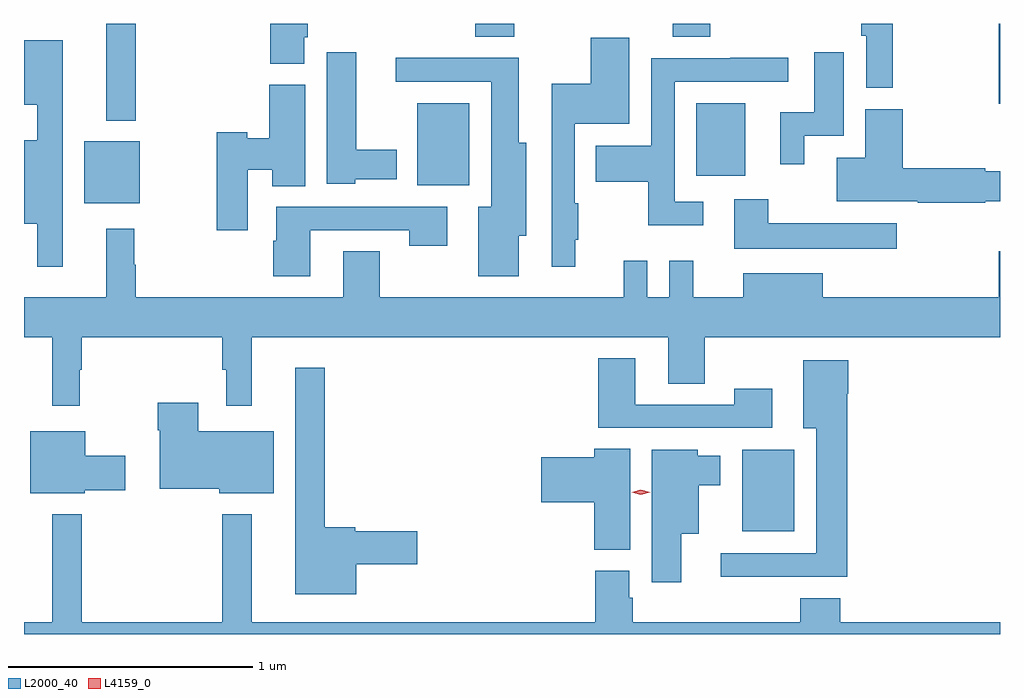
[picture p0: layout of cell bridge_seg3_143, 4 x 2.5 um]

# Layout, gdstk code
import gdstk
lib = gdstk.Library(unit=1e-6, precision=1e-09)
def R(c, l, rs):  # rectangles x0, y0, x1, y1
    for r in rs: c.add(gdstk.rectangle(r[:2], r[2:], *l))
def P(c, l, *ps):  # polygons
    for p in ps: c.add(gdstk.Polygon(p, *l))
L2000_40 = (2000, 40)
L4159_0 = (4159, 0)

bridge_seg3_143 = lib.new_cell('bridge_seg3_143')
R(bridge_seg3_143, L2000_40, [(319.802,666.821,320.014,667.156), (317.105,668.165,317.332,668.419), (318.47,668.24,318.682,668.575), (319.613,668.279,319.813,668.575), (317.195,668.504,317.317,668.901), (320.852,668.574,320.858,668.901), (318.707,668.849,318.867,668.901), (319.517,668.849,319.67,668.901)])
P(bridge_seg3_143, L2000_40, [(320.419,668.901),(320.29,668.901),(320.29,668.852),(320.31,668.852),(320.31,668.64),(320.419,668.64)],
  [(318.007,668.847),(318.02,668.847),(318.02,668.901),(317.867,668.901),(317.867,668.737),(318.007,668.737)],
  [(319.118,668.017),(319.129,668.017),(319.129,668.165),(319.116,668.165),(319.116,668.492),(319.339,668.492),(319.339,668.845),(319.181,668.845),(319.181,668.655),(319.02,668.655),(319.02,667.905),(319.118,667.905)],
  [(317.017,668.833),(316.858,668.833),(316.858,668.57),(316.913,668.57),(316.913,668.425),(316.858,668.425),(316.858,668.081),(316.913,668.081),(316.913,667.905),(317.017,667.905)],
  [(320.056,668.442),(320.218,668.442),(320.218,668.785),(320.096,668.785),(320.096,668.538),(319.958,668.538),(319.958,668.325),(320.056,668.325)],
  [(318.216,668.264),(318.385,668.264),(318.385,668.386),(318.22,668.386),(318.22,668.785),(318.098,668.785),(318.098,668.246),(318.216,668.246)],
  [(318.886,668.033),(318.916,668.033),(318.916,668.413),(318.886,668.413),(318.886,668.762),(318.381,668.762),(318.381,668.664),(318.773,668.664),(318.773,668.152),(318.719,668.152),(318.719,667.866),(318.886,667.866)],
  [(319.642,668.172),(319.524,668.172),(319.524,668.664),(319.99,668.664),(319.99,668.762),(319.753,668.762),(319.753,668.76),(319.428,668.76),(319.428,668.401),(319.201,668.401),(319.201,668.254),(319.416,668.254),(319.416,668.075),(319.642,668.075)],
  [(317.776,668.303),(317.876,668.303),(317.876,668.236),(318.01,668.236),(318.01,668.652),(317.864,668.652),(317.864,668.433),(317.772,668.433),(317.772,668.456),(317.647,668.456),(317.647,668.055),(317.776,668.055)],
  [(320.798,668.174),(320.858,668.174),(320.858,668.296),(320.798,668.296),(320.798,668.309),(320.459,668.309),(320.459,668.551),(320.306,668.551),(320.306,668.353),(320.189,668.353),(320.189,668.174),(320.521,668.174),(320.521,668.167),(320.798,668.167)],
  [(320.434,668.083),(319.909,668.083),(319.909,668.182),(319.769,668.182),(319.769,667.979),(320.434,667.979)],
  [(318.031,668.055),(318.436,668.055),(318.436,667.992),(318.592,667.992),(318.592,668.151),(317.891,668.151),(317.891,668.013),(317.879,668.013),(317.879,667.866),(318.031,667.866)],
  [(317.087,667.484),(317.095,667.484),(317.095,667.616),(317.67,667.616),(317.67,667.484),(317.687,667.484),(317.687,667.335),(317.791,667.335),(317.791,667.616),(319.499,667.616),(319.499,667.426),(319.647,667.426),(319.647,667.616),(320.858,667.616),(320.858,667.969),(320.852,667.969),(320.852,667.78),(320.131,667.78),(320.131,667.879),(319.805,667.879),(319.805,667.78),(319.601,667.78),(319.601,667.93),(319.503,667.93),(319.503,667.78),(319.413,667.78),(319.413,667.93),(319.316,667.93),(319.316,667.78),(318.315,667.78),(318.315,667.97),(318.167,667.97),(318.167,667.78),(317.317,667.78),(317.317,667.913),(317.309,667.913),(317.309,668.062),(317.195,668.062),(317.195,667.78),(316.858,667.78),(316.858,667.616),(316.973,667.616),(316.973,667.335),(317.087,667.335)],
  [(319.924,667.405),(319.768,667.405),(319.768,667.341),(319.363,667.341),(319.363,667.531),(319.211,667.531),(319.211,667.245),(319.924,667.245)],
  [(320.231,667.386),(320.236,667.386),(320.236,667.522),(320.051,667.522),(320.051,667.244),(320.105,667.244),(320.105,666.732),(319.713,666.732),(319.713,666.635),(320.231,666.635)],
  [(318.22,666.686),(318.469,666.686),(318.469,666.821),(318.216,666.821),(318.216,666.839),(318.091,666.839),(318.091,667.492),(317.969,667.492),(317.969,666.563),(318.22,666.563)],
  [(317.881,667.231),(317.572,667.231),(317.572,667.348),(317.407,667.348),(317.407,667.235),(317.414,667.235),(317.414,666.995),(317.658,666.995),(317.658,666.977),(317.881,666.977)],
  [(317.106,666.989),(317.272,666.989),(317.272,667.131),(317.11,667.131),(317.11,667.231),(316.883,667.231),(316.883,666.977),(317.106,666.977)],
  [(319.342,667.16),(319.196,667.16),(319.196,667.124),(318.978,667.124),(318.978,666.941),(319.196,666.941),(319.196,666.745),(319.342,666.745)],
  [(319.552,666.812),(319.624,666.812),(319.624,667.01),(319.711,667.01),(319.711,667.132),(319.62,667.132),(319.62,667.156),(319.43,667.156),(319.43,666.612),(319.552,666.612)],
  [(320.858,666.448),(320.204,666.448),(320.204,666.547),(320.039,666.547),(320.039,666.448),(319.352,666.448),(319.352,666.549),(319.339,666.549),(319.339,666.66),(319.199,666.66),(319.199,666.448),(317.791,666.448),(317.791,666.892),(317.67,666.892),(317.67,666.448),(317.095,666.448),(317.095,666.892),(316.973,666.892),(316.973,666.448),(316.858,666.448),(316.858,666.4),(320.858,666.4)])
P(bridge_seg3_143, L4159_0, [(319.386,666.971),(319.348,666.981),(319.348,666.981),(319.348,666.981),(319.386,666.991),(319.425,666.982),(319.425,666.981),(319.425,666.981)])

lib.write_gds('bridge_seg3_143.gds')
